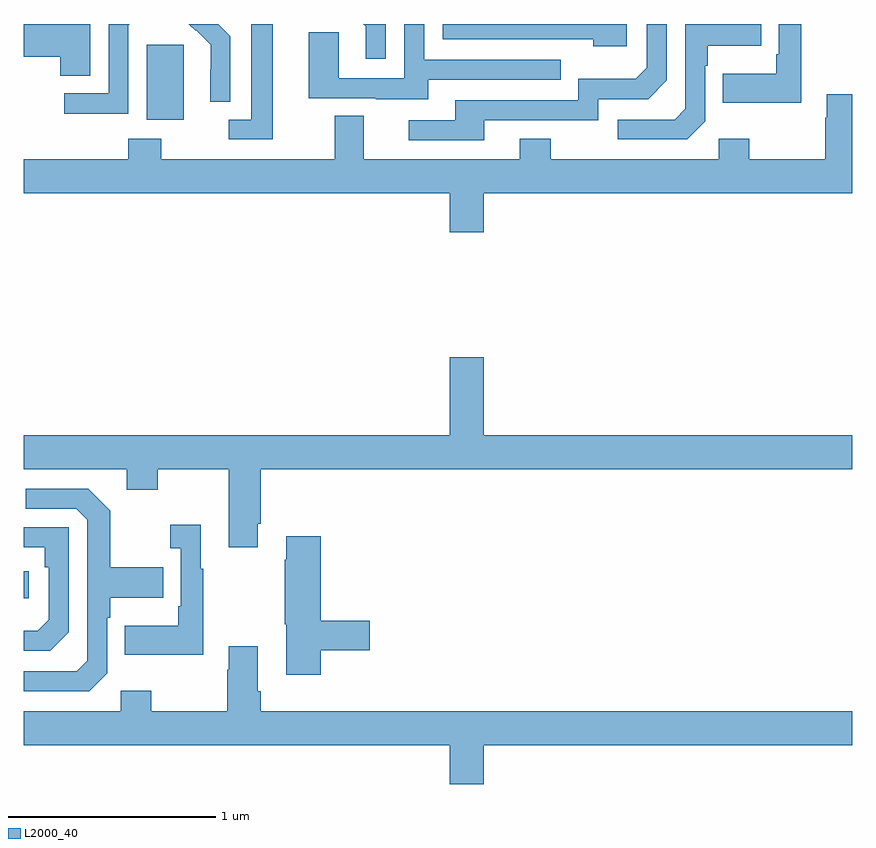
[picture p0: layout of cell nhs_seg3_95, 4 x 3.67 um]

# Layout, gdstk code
import gdstk
lib = gdstk.Library(unit=1e-6, precision=1e-09)
def R(c, l, rs):  # rectangles x0, y0, x1, y1
    for r in rs: c.add(gdstk.rectangle(r[:2], r[2:], *l))
def P(c, l, *ps):  # polygons
    for p in ps: c.add(gdstk.Polygon(p, *l))
L2000_40 = (2000, 40)

nhs_seg3_95 = lib.new_cell('nhs_seg3_95')
R(nhs_seg3_95, L2000_40, [(115,697.628,115.024,697.758), (115.595,699.938,115.774,700.299)])
P(nhs_seg3_95, L2000_40, [(117.91,700.4),(117.024,700.4),(117.024,700.326),(117.749,700.326),(117.749,700.292),(117.91,700.292)],
  [(117.223,699.936),(117.774,699.936),(117.774,700.038),(118.014,700.038),(118.104,700.128),(118.104,700.4),(118.008,700.4),(118.008,700.188),(117.955,700.135),(117.678,700.135),(117.678,700.032),(117.083,700.032),(117.083,699.936),(116.859,699.936),(116.859,699.84),(117.223,699.84)],
  [(116.748,700.4),(116.64,700.4),(116.651,700.389),(116.651,700.233),(116.748,700.233)],
  [(116.203,700.4),(116.099,700.4),(116.099,699.939),(115.989,699.939),(115.989,699.843),(116.203,699.843)],
  [(118.753,700.4),(118.644,700.4),(118.644,700.255),(118.632,700.255),(118.632,700.159),(118.375,700.159),(118.375,700.019),(118.753,700.019)],
  [(115.998,700.342),(115.94,700.4),(115.798,700.4),(115.83,700.368),(115.833,700.371),(115.904,700.301),(115.904,700.178),(115.902,700.178),(115.902,700.024),(115.998,700.024)],
  [(115.506,700.396),(115.509,700.396),(115.509,700.4),(115.41,700.4),(115.41,700.065),(115.197,700.065),(115.197,699.967),(115.506,699.967)],
  [(118.29,699.93),(118.29,700.199),(118.303,700.199),(118.303,700.295),(118.559,700.295),(118.559,700.4),(118.194,700.4),(118.194,699.99),(118.143,699.939),(117.867,699.939),(117.867,699.843),(118.203,699.843)],
  [(116.953,700.131),(117.593,700.131),(117.593,700.227),(116.934,700.227),(116.934,700.4),(116.838,700.4),(116.838,700.137),(116.52,700.137),(116.52,700.361),(116.375,700.361),(116.375,700.041),(116.699,700.041),(116.699,700.037),(116.953,700.037)],
  [(115.321,700.4),(115,700.4),(115,700.241),(115.178,700.241),(115.178,700.15),(115.321,700.15)],
  [(117.22,699.584),(119,699.584),(119,700.06),(118.877,700.06),(118.877,699.947),(118.87,699.947),(118.87,699.748),(118.503,699.748),(118.503,699.847),(118.356,699.847),(118.356,699.748),(117.543,699.748),(117.543,699.847),(117.395,699.847),(117.395,699.748),(116.641,699.748),(116.641,699.956),(116.501,699.956),(116.501,699.748),(115.665,699.748),(115.665,699.847),(115.505,699.847),(115.505,699.748),(115,699.748),(115,699.584),(117.056,699.584),(117.056,699.396),(117.22,699.396)],
  [(116.131,697.987),(116.144,697.987),(116.144,698.252),(119,698.252),(119,698.416),(117.22,698.416),(117.22,698.791),(117.056,698.791),(117.056,698.416),(115,698.416),(115,698.252),(115.499,698.252),(115.499,698.153),(115.647,698.153),(115.647,698.252),(115.991,698.252),(115.991,697.875),(116.131,697.875)],
  [(115.404,697.266),(115.404,697.535),(115.417,697.535),(115.417,697.631),(115.673,697.631),(115.673,697.779),(115.417,697.779),(115.417,698.051),(115.311,698.157),(115.011,698.157),(115.011,698.061),(115.254,698.061),(115.308,698.007),(115.308,697.326),(115.257,697.275),(115,697.275),(115,697.179),(115.317,697.179)],
  [(115.867,697.771),(115.855,697.771),(115.855,697.984),(115.707,697.984),(115.707,697.871),(115.758,697.871),(115.758,697.591),(115.746,697.591),(115.746,697.495),(115.489,697.495),(115.489,697.355),(115.867,697.355)],
  [(115.218,697.464),(115.218,697.971),(115,697.971),(115,697.875),(115.102,697.875),(115.102,697.778),(115.122,697.778),(115.122,697.524),(115.069,697.471),(115,697.471),(115,697.374),(115.128,697.374)],
  [(116.435,697.378),(116.671,697.378),(116.671,697.52),(116.435,697.52),(116.435,697.927),(116.267,697.927),(116.267,697.814),(116.26,697.814),(116.26,697.503),(116.267,697.503),(116.267,697.26),(116.435,697.26)],
  [(117.22,696.92),(119,696.92),(119,697.084),(116.144,697.084),(116.144,697.18),(116.131,697.18),(116.131,697.396),(115.991,697.396),(115.991,697.283),(115.984,697.283),(115.984,697.084),(115.617,697.084),(115.617,697.183),(115.47,697.183),(115.47,697.084),(115,697.084),(115,696.92),(117.056,696.92),(117.056,696.732),(117.22,696.732)])

lib.write_gds('nhs_seg3_95.gds')
